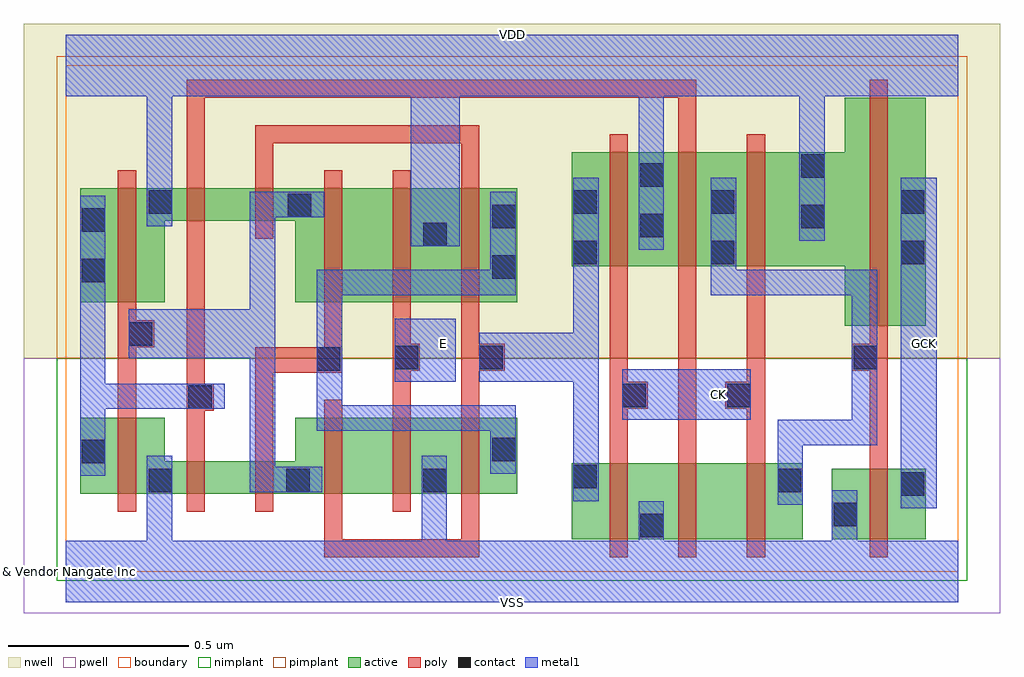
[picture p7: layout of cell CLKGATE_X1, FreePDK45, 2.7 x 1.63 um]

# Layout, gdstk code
import gdstk
lib = gdstk.Library(unit=1e-6, precision=1e-10)
def R(c, l, rs):  # rectangles x0, y0, x1, y1
    for r in rs: c.add(gdstk.rectangle(r[:2], r[2:], *l))
def A(c, l, x, y, w, h, nx, ny, dx, dy):  # array of equal rectangles
    R(c, l, [(x+i*dx, y+j*dy, x+i*dx+w, y+j*dy+h) for i in range(nx) for j in range(ny)])
def P(c, l, *ps):  # polygons
    for p in ps: c.add(gdstk.Polygon(p, *l))
active = (1, 0)
pwell = (2, 0)
nwell = (3, 0)
nimplant = (4, 0)
pimplant = (5, 0)
poly = (9, 0)
contact = (10, 0)
metal1 = (11, 0)
boundary = (235, 0)

clkgate_x1 = lib.new_cell('CLKGATE_X1')
R(clkgate_x1, active, [(1.4,0.09,2.04,0.3), (2.12,0.09,2.38,0.285)])
P(clkgate_x1, active, [(0.04,0.215),(0.04,0.425),(0.275,0.425),(0.275,0.305),(0.635,0.305),(0.635,0.425),(1.25,0.425),(1.25,0.215)],
  [(0.04,0.745),(0.04,1.06),(1.25,1.06),(1.25,0.745),(0.635,0.745),(0.635,0.97),(0.275,0.97),(0.275,0.745)],
  [(2.155,0.68),(2.155,0.845),(1.4,0.845),(1.4,1.16),(2.155,1.16),(2.155,1.31),(2.38,1.31),(2.38,0.68)])
R(clkgate_x1, pwell, [(-0.115,-0.115,2.585,0.59)])
R(clkgate_x1, nwell, [(-0.115,0.59,2.585,1.515)])
R(clkgate_x1, nimplant, [(-0.025,-0.025,2.495,0.59)])
R(clkgate_x1, pimplant, [(-0.025,0.59,2.495,1.425)])
P(clkgate_x1, poly, [(0.145,0.165),(0.145,1.11),(0.195,1.11),(0.195,0.695),(0.245,0.695),(0.245,0.62),(0.195,0.62),(0.195,0.165)],
  [(0.525,0.165),(0.525,0.62),(0.715,0.62),(0.715,1.11),(0.765,1.11),(0.765,0.55),(0.575,0.55),(0.575,0.165)],
  [(0.905,0.165),(0.905,1.11),(0.955,1.11),(0.955,0.63),(0.98,0.63),(0.98,0.555),(0.955,0.555),(0.955,0.165)],
  [(0.715,0.04),(0.715,0.475),(0.765,0.475),(0.765,0.09),(1.095,0.09),(1.095,1.185),(0.575,1.185),(0.575,0.92),(0.525,0.92),(0.525,1.235),(1.145,1.235),(1.145,0.63),(1.215,0.63),(1.215,0.555),(1.145,0.555),(1.145,0.04)],
  [(1.505,0.04),(1.505,1.21),(1.555,1.21),(1.555,0.525),(1.61,0.525),(1.61,0.45),(1.555,0.45),(1.555,0.04)],
  [(1.695,0.04),(1.695,1.31),(0.385,1.31),(0.385,0.52),(0.41,0.52),(0.41,0.445),(0.385,0.445),(0.385,0.165),(0.335,0.165),(0.335,1.36),(1.745,1.36),(1.745,0.04)],
  [(1.885,0.04),(1.885,0.45),(1.825,0.45),(1.825,0.525),(1.885,0.525),(1.885,1.21),(1.935,1.21),(1.935,0.04)],
  [(2.225,0.04),(2.225,0.555),(2.175,0.555),(2.175,0.63),(2.225,0.63),(2.225,1.36),(2.275,1.36),(2.275,0.04)])
A(clkgate_x1, contact, 0.23, 0.22, 0.065, 0.065, 3, 1, 0.38, 0)
R(clkgate_x1, contact, [(1.59,0.095,1.655,0.16), (2.125,0.125,2.19,0.19), (2.31,0.21,2.375,0.275), (1.97,0.22,2.035,0.285), (1.405,0.23,1.47,0.295), (0.045,0.3,0.11,0.365), (1.18,0.305,1.245,0.37), (0.34,0.45,0.405,0.515), (1.54,0.455,1.605,0.52), (1.83,0.455,1.895,0.52), (0.695,0.555,0.76,0.62), (0.91,0.56,0.975,0.625), (1.145,0.56,1.21,0.625), (2.18,0.56,2.245,0.625), (0.175,0.625,0.24,0.69), (0.045,0.8,0.11,0.865), (1.18,0.81,1.245,0.875), (1.405,0.85,1.47,0.915), (1.785,0.85,1.85,0.915), (2.31,0.85,2.375,0.915), (0.99,0.9,1.055,0.965), (1.59,0.925,1.655,0.99), (0.045,0.94,0.11,1.005), (1.18,0.95,1.245,1.015), (2.035,0.95,2.1,1.015), (0.615,0.98,0.68,1.045), (0.23,0.99,0.295,1.055), (1.405,0.99,1.47,1.055), (1.785,0.99,1.85,1.055), (2.31,0.99,2.375,1.055), (1.59,1.065,1.655,1.13), (2.035,1.09,2.1,1.155)])
R(clkgate_x1, metal1, [(2.31,0.175,2.41,1.09), (1.54,0.42,1.895,0.56), (0.91,0.525,1.08,0.7)])
P(clkgate_x1, metal1, [(0.04,0.265),(0.04,1.04),(0.11,1.04),(0.11,0.52),(0.44,0.52),(0.44,0.45),(0.11,0.45),(0.11,0.265)],
  [(0.51,0.22),(0.51,0.59),(0.175,0.59),(0.175,0.725),(0.51,0.725),(0.51,1.05),(0.715,1.05),(0.715,0.98),(0.58,0.98),(0.58,0.29),(0.71,0.29),(0.71,0.22)],
  [(1.175,0.27),(1.175,0.39),(0.695,0.39),(0.695,0.835),(1.175,0.835),(1.175,1.05),(1.245,1.05),(1.245,0.765),(0.765,0.765),(0.765,0.46),(1.245,0.46),(1.245,0.27)],
  [(1.405,0.195),(1.405,0.525),(1.145,0.525),(1.145,0.66),(1.405,0.66),(1.405,1.09),(1.475,1.09),(1.475,0.195)],
  [(1.97,0.185),(1.97,0.42),(2.175,0.42),(2.175,0.765),(1.785,0.765),(1.785,1.09),(1.855,1.09),(1.855,0.835),(2.245,0.835),(2.245,0.35),(2.04,0.35),(2.04,0.185)],
  [(0,-0.085),(0,0.085),(0.225,0.085),(0.225,0.32),(0.295,0.32),(0.295,0.085),(0.985,0.085),(0.985,0.32),(1.055,0.32),(1.055,0.085),(1.585,0.085),(1.585,0.195),(1.655,0.195),(1.655,0.085),(2.12,0.085),(2.12,0.225),(2.19,0.225),(2.19,0.085),(2.47,0.085),(2.47,-0.085)],
  [(1.585,0.89),(1.585,1.315),(1.09,1.315),(1.09,0.9),(0.955,0.9),(0.955,1.315),(0.295,1.315),(0.295,0.955),(0.225,0.955),(0.225,1.315),(0,1.315),(0,1.485),(2.47,1.485),(2.47,1.315),(2.1,1.315),(2.1,0.915),(2.03,0.915),(2.03,1.315),(1.655,1.315),(1.655,0.89)])
R(clkgate_x1, boundary, [(0,0,2.47,1.4)])
clkgate_x1.add(gdstk.Label('CK', (1.805,0.49), layer=11, texttype=0))
clkgate_x1.add(gdstk.Label('E', (1.045,0.63), layer=11, texttype=0))
clkgate_x1.add(gdstk.Label('GCK', (2.375,0.63), layer=11, texttype=0))
clkgate_x1.add(gdstk.Label('VDD', (1.235,1.485), layer=11, texttype=0))
clkgate_x1.add(gdstk.Label('VSS', (1.235,-0.085), layer=11, texttype=0))
clkgate_x1.add(gdstk.Label('& Vendor Nangate Inc', (0,0), layer=63, texttype=63))
clkgate_x1.add(gdstk.Label('& Product Open Cell Library', (0,0), layer=63, texttype=63))
clkgate_x1.add(gdstk.Label('& Version 2010_12', (0,0), layer=63, texttype=63))
clkgate_x1.add(gdstk.Label('& Instance CLKGATE_X1', (0,0), layer=63, texttype=63))

lib.write_gds('CLKGATE_X1.gds')
